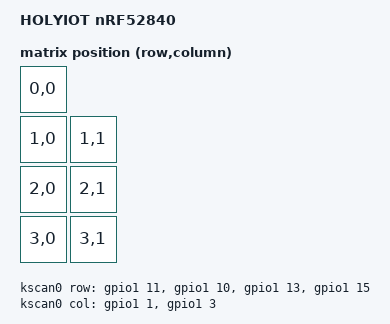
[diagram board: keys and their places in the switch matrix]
/dts-v1/;
#include <nordic/nrf52840_qiaa.dtsi>
#include "holyiot_connector.dtsi"
#include <dt-bindings/zmk/matrix_transform.h>
// #include <dt-bindings/zmk/trackball_pim447.h>

/ {
	model = "HOLYIOT nRF52840";
	compatible = "holyiot,nrf52840";

	chosen {
		zmk,kscan = &kscan0;
		zmk,matrix_transform = &default_transform;

		zephyr,console = &uart0;
		zephyr,shell-uart = &uart0;
		zephyr,uart-mcumgr = &uart0;
		zephyr,bt-mon-uart = &uart0;
		zephyr,bt-c2h-uart = &uart0;
		zephyr,sram = &sram0;
		zephyr,flash = &flash0;
		zephyr,code-partition = &slot0_partition;
	};

	leds {
		compatible = "gpio-leds";
		led0: led_0 {
			gpios = <&gpio1 4 0>;
			label = "Led 0";
		};
		led1: led_1 {
			gpios = <&gpio1 6 0>;
			label = "Led 1";
		};
		led2: led_2 {
			gpios = <&gpio0 9 0>;
			label = "Led 2";
		};
		led3: led_3 {
			gpios = <&gpio0 10 1>;
			label = "Led 3";
		};
	};

	buttons {
		compatible = "gpio-keys";
		button0: button_0 {
			gpios = <&gpio0 7 GPIO_ACTIVE_LOW>;
			label = "Push button switch 0";
		};
	};

	aliases {
		led0 = &led0;
		led1 = &led1;
		led2 = &led2;
		led3 = &led3;
	};

	sensors {
        compatible = "zmk,keymap-sensors";
        sensors = <&encoder>;
    };

	vbatt {
		compatible = "zmk,battery-voltage-divider";
		io-channels = <&adc 0>;
		label = "BATTERY";
		output-ohms = <2000000>;
		full-ohms = <(2000000 + 806000)>;
	};

    default_transform: keymap_transform_0 {
        compatible = "zmk,matrix-transform";
        columns = <2>;
        rows = <4>;
        map = <
			RC(0,0)  
			RC(1,0)  RC(1,1)
			RC(2,0)  RC(2,1)
			RC(3,0)  RC(3,1)
        >;
    };

	kscan0: kscan_0 {
		compatible = "zmk,kscan-gpio-matrix";
		label = "KSCAN";
		diode-direction = "col2row";

		col-gpios
			= <&gpio1 1 GPIO_ACTIVE_HIGH> 
			, <&gpio1 3 GPIO_ACTIVE_HIGH>
			;
			
		row-gpios
			= <&gpio1 11 (GPIO_ACTIVE_HIGH | GPIO_PULL_DOWN)>
			, <&gpio1 10 (GPIO_ACTIVE_HIGH | GPIO_PULL_DOWN)>
			, <&gpio1 13 (GPIO_ACTIVE_HIGH | GPIO_PULL_DOWN)>
			, <&gpio1 15 (GPIO_ACTIVE_HIGH | GPIO_PULL_DOWN)>
			;
	};

};

&adc {
	status = "okay";
};

&encoder {
	status = "okay";
};

&gpiote {
	status = "okay";
};

&gpio0 {
	status = "okay";
};

&gpio1 {
	status = "okay";
};

// &i2c0 {
// 	compatible = "nordic,nrf-twi";
// 	status = "okay";
// 	sda-pin = <10>;
// 	scl-pin = <11>;
	
// 	trackball_pim447@a {
// 		compatible = "pimoroni,trackball_pim447";
// 		reg = <0xa>;
// 		label = "TRACKBALL_PIM447";

// 		move-factor = <1>;      // Increase pointer velocity (default: 1)
// 		//invert-move-x;        // Invert pointer X axis (left is right, and vice versa)
// 		//invert-move-y;        // Invert pointer Y axis (up is down, and vice versa)
// 		button = <0>;           // Send right-click when pressing the ball (default: 0, ie. left-click)
// 		scroll-divisor = <2>;   // Increase wheel velocity (default: 2)
// 		//invert-scroll-x;      // Invert wheel X axis (left is right, and vice versa)
// 		//invert-scroll-y;      // Invert wheel Y axis (up is down, and vice versa)
// 		mode = <PIM447_MOVE>;   // Act as pointer at startup (default: PIM447_SCROLL for mouse scroll)
// 	};
// };

&flash0 {

	partitions {
		compatible = "fixed-partitions";
		#address-cells = <1>;
		#size-cells = <1>;

		boot_partition: partition@0 {
			label = "mcuboot";
			reg = <0x000000000 0x0000C000>;
		};
		slot0_partition: partition@c000 {
			label = "image-0";
			reg = <0x0000C000 0x00067000>;
		};
		slot1_partition: partition@73000 {
			label = "image-1";
			reg = <0x00073000 0x00067000>;
		};
		scratch_partition: partition@da000 {
			label = "image-scratch";
			reg = <0x000da000 0x0001e000>;
		};

		/*
		 * The flash starting at 0x000f8000 and ending at
		 * 0x000fffff is reserved for use by the application.
		 */

		/* Storage partition will be used by FCB/NFFS/NVS if enabled. */
		storage_partition: partition@f8000 {
			label = "storage";
			reg = <0x000f8000 0x00008000>;
		};
	};
};

zephyr_udc0: &usbd {
	compatible = "nordic,nrf-usbd";
	status = "okay";
};

